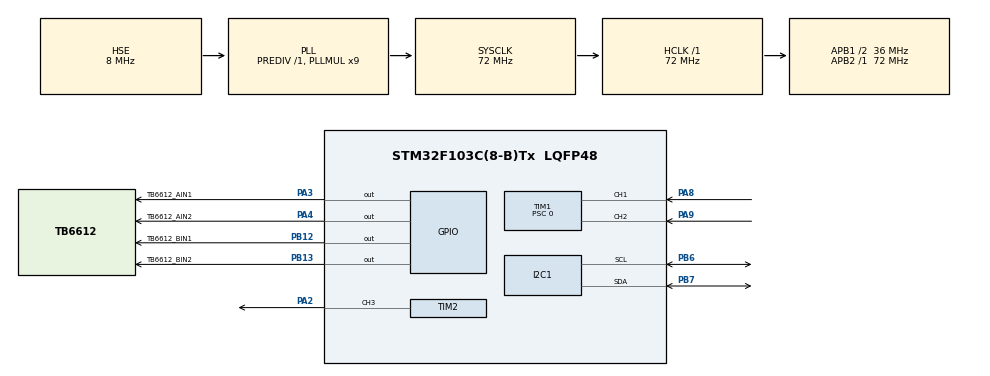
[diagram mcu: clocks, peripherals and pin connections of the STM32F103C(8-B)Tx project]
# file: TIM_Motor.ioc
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Mcu.Family=STM32F1
Mcu.Name=STM32F103C(8-B)Tx
Mcu.Package=LQFP48
NVIC.PriorityGroup=NVIC_PRIORITYGROUP_4
PA13.Mode=Serial_Wire
PA13.Signal=SYS_JTMS-SWDIO
PA14.Mode=Serial_Wire
PA14.Signal=SYS_JTCK-SWCLK
PA2.Signal=S_TIM2_CH3
PA3.GPIO_Label=TB6612_AIN1
PA3.Signal=GPIO_Output
PA4.GPIO_Label=TB6612_AIN2
PA4.Signal=GPIO_Output
PA8.Signal=S_TIM1_CH1
PA9.Signal=S_TIM1_CH2
PB12.GPIO_Label=TB6612_BIN1
PB12.Signal=GPIO_Output
PB13.GPIO_Label=TB6612_BIN2
PB13.Signal=GPIO_Output
PB6.Mode=I2C
PB6.Signal=I2C1_SCL
PB7.Mode=I2C
PB7.Signal=I2C1_SDA
PD0-OSC_IN.Mode=HSE-External-Oscillator
PD0-OSC_IN.Signal=RCC_OSC_IN
PD1-OSC_OUT.Mode=HSE-External-Oscillator
PD1-OSC_OUT.Signal=RCC_OSC_OUT
ProjectManager.HeapSize=0x200
ProjectManager.StackSize=0x400
ProjectManager.TargetToolchain=STM32CubeIDE
RCC.AHBFreq_Value=72000000
RCC.APB1CLKDivider=RCC_HCLK_DIV2
RCC.APB1Freq_Value=36000000
RCC.APB1TimFreq_Value=72000000
RCC.APB2Freq_Value=72000000
RCC.APB2TimFreq_Value=72000000
RCC.HCLKFreq_Value=72000000
RCC.PLLMUL=RCC_PLL_MUL9
RCC.PLLSourceVirtual=RCC_PLLSOURCE_HSE
RCC.SYSCLKFreq_VALUE=72000000
RCC.SYSCLKSource=RCC_SYSCLKSOURCE_PLLCLK
RCC.USBFreq_Value=72000000
SH.S_TIM1_CH1.0=TIM1_CH1,Encoder_Interface
SH.S_TIM1_CH2.0=TIM1_CH2,Encoder_Interface
SH.S_TIM2_CH3.0=TIM2_CH3,PWM Generation3 CH3
TIM1.IC1Filter=15
TIM1.IC2Filter=15
TIM1.IC2Polarity=TIM_ICPOLARITY_FALLING
TIM1.Prescaler=0
TIM2.Channel-PWM\ Generation3\ CH3=TIM_CHANNEL_3
TIM2.Period=100-1
TIM2.Prescaler=72-1
VP_TIM2_VS_ClockSourceINT.Mode=Internal
board=custom

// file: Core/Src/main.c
/* USER CODE BEGIN Header */
/**
  ******************************************************************************
  * @file           : main.c
  * @brief          : Main program body
  ******************************************************************************
  * @attention
  *
  * Copyright (c) 2026 STMicroelectronics.
  * All rights reserved.
  *
  * This software is licensed under terms that can be found in the LICENSE file
  * in the root directory of this software component.
  * If no LICENSE file comes with this software, it is provided AS-IS.
  *
  ******************************************************************************
  */
/* USER CODE END Header */
#include "main.h"
#include "i2c.h"
#include "tim.h"
#include "gpio.h"

/* USER CODE BEGIN Includes */
#include "tb6612.h"
#include "oled.h"
#include "stdio.h"
/* USER CODE END Includes */

/* USER CODE BEGIN PTD */
#define COUNT_MID 20 //私有类型定义
/* USER CODE END PTD */

void SystemClock_Config(void);

int main(void)
{

  /* MCU Configuration--------------------------------------------------------*/

  /* Reset of all peripherals, Initializes the Flash interface and the Systick. */
  HAL_Init();

  /* Configure the system clock */
  SystemClock_Config();

  /* Initialize all configured peripherals */
  MX_GPIO_Init();
  MX_TIM1_Init();
  MX_TIM2_Init();
  MX_I2C1_Init();
  /* USER CODE BEGIN 2 */

  HAL_Delay(20);
  OLED_Init();//OLED初始化
  TB6612_Init(ONLY_A);//电机初始化
  HAL_TIM_Encoder_Start_IT(&htim1, TIM_CHANNEL_ALL);//启动定时器1的编码器通道
  __HAL_TIM_SET_COUNTER(&htim1, COUNT_MID);//避免程序一下载成功 电机就开始转，count = 0 时 反转速度达到最大

  int count = 0;
  int speed = 0;
  char message[50] = "";

  /* USER CODE END 2 */

  /* Infinite loop */
  /* USER CODE BEGIN WHILE */
  while (1)
  {
	  //将count控制在0-40：0-19表示反转，21-40表示正转
	  //离中点20越远，则速度越快
	  count = __HAL_TIM_GET_COUNTER(&htim1);

	  //限制count值在正确范围内
	  if(count > 60000)
	  {
		  count = 0;
		  __HAL_TIM_SET_COUNTER(&htim1, 0);
	  }
	  else if(count > COUNT_MID * 2)
	  {
		  count = COUNT_MID * 2;
		  __HAL_TIM_SET_COUNTER(&htim1, COUNT_MID * 2);
	  }

	  //速度值计算
	  if(count < COUNT_MID)//反转
	  {
		  speed = (COUNT_MID - count) *100 / COUNT_MID;//*100 要在 /20 前面
		  TB6612_Backward(ONLY_A, speed);
	  }
	  else//正转
	  {
		  speed = (count - COUNT_MID) *100 / COUNT_MID;//*100 要在 /20 前面
		  TB6612_Forward(ONLY_A, speed);
	  }

	  //OLED
	  OLED_NewFrame();
	  sprintf(message, "count值: %d", count);
	  OLED_PrintString(15, 0, message, &font16x16, OLED_COLOR_NORMAL);
	  sprintf(message, "速度值: %d m/s", speed);//该OLED驱动库OLED_PrintString()函数不支持 \n 自动换行
	  OLED_PrintString(15, 30, message, &font16x16, OLED_COLOR_NORMAL);
	  OLED_ShowFrame();

	  HAL_Delay(100);

    /* USER CODE END WHILE */

  }
}

void SystemClock_Config(void)
{
  RCC_OscInitTypeDef RCC_OscInitStruct = {0};
  RCC_ClkInitTypeDef RCC_ClkInitStruct = {0};

  /** Initializes the RCC Oscillators according to the specified parameters
  * in the RCC_OscInitTypeDef structure.
  */
  RCC_OscInitStruct.OscillatorType = RCC_OSCILLATORTYPE_HSE;
  RCC_OscInitStruct.HSEState = RCC_HSE_ON;
  RCC_OscInitStruct.HSEPredivValue = RCC_HSE_PREDIV_DIV1;
  RCC_OscInitStruct.HSIState = RCC_HSI_ON;
  RCC_OscInitStruct.PLL.PLLState = RCC_PLL_ON;
  RCC_OscInitStruct.PLL.PLLSource = RCC_PLLSOURCE_HSE;
  RCC_OscInitStruct.PLL.PLLMUL = RCC_PLL_MUL9;
  if (HAL_RCC_OscConfig(&RCC_OscInitStruct) != HAL_OK)
  {
    Error_Handler();
  }

  /** Initializes the CPU, AHB and APB buses clocks
  */
  RCC_ClkInitStruct.ClockType = RCC_CLOCKTYPE_HCLK|RCC_CLOCKTYPE_SYSCLK
                              |RCC_CLOCKTYPE_PCLK1|RCC_CLOCKTYPE_PCLK2;
  RCC_ClkInitStruct.SYSCLKSource = RCC_SYSCLKSOURCE_PLLCLK;
  RCC_ClkInitStruct.AHBCLKDivider = RCC_SYSCLK_DIV1;
  RCC_ClkInitStruct.APB1CLKDivider = RCC_HCLK_DIV2;
  RCC_ClkInitStruct.APB2CLKDivider = RCC_HCLK_DIV1;

  if (HAL_RCC_ClockConfig(&RCC_ClkInitStruct, FLASH_LATENCY_2) != HAL_OK)
  {
    Error_Handler();
  }
}

void Error_Handler(void)
{
  __disable_irq();
  while (1)
  {
  }
}
